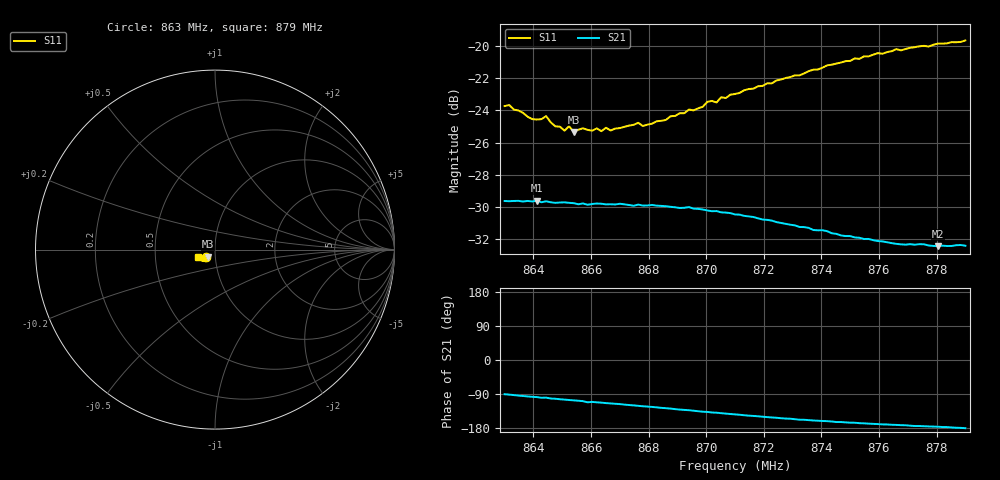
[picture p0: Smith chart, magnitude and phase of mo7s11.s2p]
# HZ S RI R 50
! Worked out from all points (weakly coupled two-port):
!   101 points, 863 MHz to 879 MHz, reference 50 ohm
!   highest |S21| = -29.60 dB at 864.12 MHz (marker M1); lowest = -32.4 dB at 878.04 MHz (marker M2)
!   lowest |S11| = -25.3 dB at 865.4 MHz (marker M3), VSWR 1.11, Z = 46.2 - j3.6 ohm
!   |S11| at or under -10 dB: start of sweep to end of sweep
!   S12 and S22 are empty: the file has one direction only
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8.63e8  -0.0515 -0.0399  -0.000186 -0.0331  0 0  0 0
8.6316e8  -0.053 -0.0387  -0.000779 -0.033  0 0  0 0
8.6412e8  -0.0454 -0.0379  -0.00456 -0.0328  0 0  0 0
8.6444e8  -0.0469 -0.0384  -0.00533 -0.0326  0 0  0 0
8.6476e8  -0.0419 -0.0376  -0.00692 -0.0319  0 0  0 0
8.6508e8  -0.0387 -0.0385  -0.0082 -0.0317  0 0  0 0
8.6524e8  -0.0403 -0.0395  -0.00877 -0.0314  0 0  0 0
8.654e8  -0.0377 -0.0388  -0.00927 -0.0312  0 0  0 0
8.6572e8  -0.0375 -0.041  -0.0103 -0.0308  0 0  0 0
8.6636e8  -0.0367 -0.0402  -0.0124 -0.0299  0 0  0 0
8.6652e8  -0.035 -0.0434  -0.013 -0.0295  0 0  0 0
8.6668e8  -0.0349 -0.0421  -0.0135 -0.0294  0 0  0 0
8.6764e8  -0.0335 -0.0471  -0.0166 -0.0276  0 0  0 0
8.678e8  -0.0327 -0.046  -0.017 -0.0271  0 0  0 0
8.6844e8  -0.0326 -0.0487  -0.0189 -0.0257  0 0  0 0
8.7004e8  -0.0354 -0.057  -0.0226 -0.0211  0 0  0 0
8.7036e8  -0.0356 -0.0566  -0.0233 -0.0201  0 0  0 0
8.71e8  -0.0388 -0.0594  -0.0241 -0.0179  0 0  0 0
8.7372e8  -0.054 -0.0649  -0.0252 -0.00937  0 0  0 0
8.7644e8  -0.0771 -0.0577  -0.0242 -0.00387  0 0  0 0
8.7804e8  -0.0891 -0.0491  -0.0239 -0.00166  0 0  0 0
8.79e8  -0.0955 -0.0412  -0.024 -7e-06  0 0  0 0
